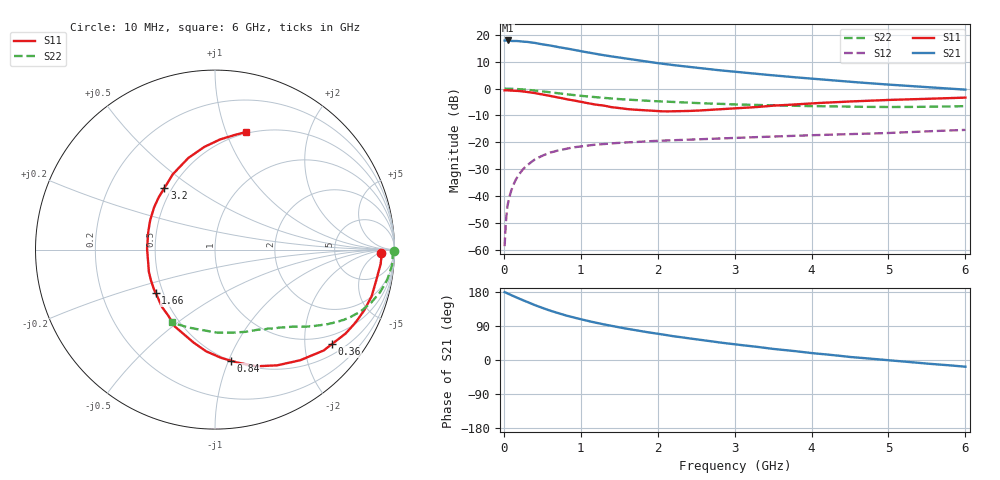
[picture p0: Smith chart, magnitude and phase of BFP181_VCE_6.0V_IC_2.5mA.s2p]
! Infineon Technologies  Discrete & RF Semiconductors
! BFP181
! VCE = 6.0 V,  IC =  2.5 mA
! Common Emitter S-Parameters:  Jan 2016
# GHz  S  MA  R  50
!  f  S11  S21  S12  S22
! GHz  MAG  ANG  MAG  ANG  MAG  ANG  MAG  ANG
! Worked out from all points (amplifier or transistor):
!   210 points, 10 MHz to 6 GHz, reference 50 ohm
!   highest |S21| = 17.8 dB at 50 MHz (marker M1)
!   |S21| within 3 dB of that: start of sweep to 823.6 MHz
!   unconditionally stable (mu >= 1): 2.363 GHz to end of sweep
!   at 185 MHz: K = 0.11, MSG = 25.0 dB, |S12| = -32.4 dB
!   at 1.52 GHz: K = 0.73, MSG = 15.8 dB, |S12| = -20.1 dB
!   at 6 GHz: K = 1.12, MAG = 5.4 dB, |S12| = -15.3 dB
!   S11 on the Smith chart (normalised r, x): 10 MHz: 24, -6; 360 MHz: 0.75, -2.65; 840 MHz: 0.50, -1.02; 1.66 GHz: 0.46, -0.26; 3.2 GHz: 0.46, +0.39; 6 GHz: 0.49, +1.18
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0.01  0.9248 -1.2  7.716 179.0  0.0012 77.8  0.9954 -0.4
0.03  0.9273 -3.2  7.751 177.5  0.0039 89.2  0.9895 -1.5
0.05  0.9263 -5.0  7.765 175.4  0.007 89.0  0.9917 -2.6
0.11  0.9125 -12.4  7.593 170.0  0.0146 81.2  0.9881 -5.6
0.15  0.9105 -16.6  7.629 166.4  0.0198 79.7  0.9816 -7.6
0.195  0.8985 -21.5  7.54 162.4  0.0253 77.2  0.9744 -9.8
0.3  0.8647 -32.8  7.315 153.7  0.0374 70.8  0.9487 -14.6
0.36  0.8383 -38.8  7.112 148.5  0.0438 67.1  0.93 -17.1
0.4  0.826 -42.9  7.01 144.9  0.0481 65.2  0.9186 -18.8
0.6  0.7324 -61.7  6.277 130.4  0.0648 55.3  0.8521 -25.7
0.7  0.6893 -70.5  5.876 124.0  0.0708 51.4  0.8176 -28.6
0.84  0.6245 -82.0  5.439 115.8  0.0779 46.5  0.7747 -31.8
1.02  0.5609 -96.4  4.854 106.5  0.0854 41.5  0.7279 -35.2
1.3  0.4831 -117.7  4.139 94.0  0.094 35.8  0.6707 -39.7
1.66  0.4092 -144.0  3.455 80.4  0.1012 31.3  0.6152 -44.2
2.02  0.379 -169.4  2.927 68.6  0.1077 28.0  0.5779 -48.5
2.4  0.3837 166.7  2.521 57.3  0.1134 25.2  0.5477 -53.5
3.1  0.4349 133.3  1.986 39.1  0.1227 22.1  0.5026 -63.2
3.2  0.4438 129.5  1.922 36.9  0.1243 21.7  0.4986 -64.7
4.1  0.5391 104.0  1.483 16.5  0.1376 17.8  0.4691 -80.7
5.1  0.6192 86.2  1.156 -2.5  0.1521 14.6  0.4541 -101.4
6  0.6781 75.1  0.954 -17.7  0.171 10.8  0.4718 -120.7
